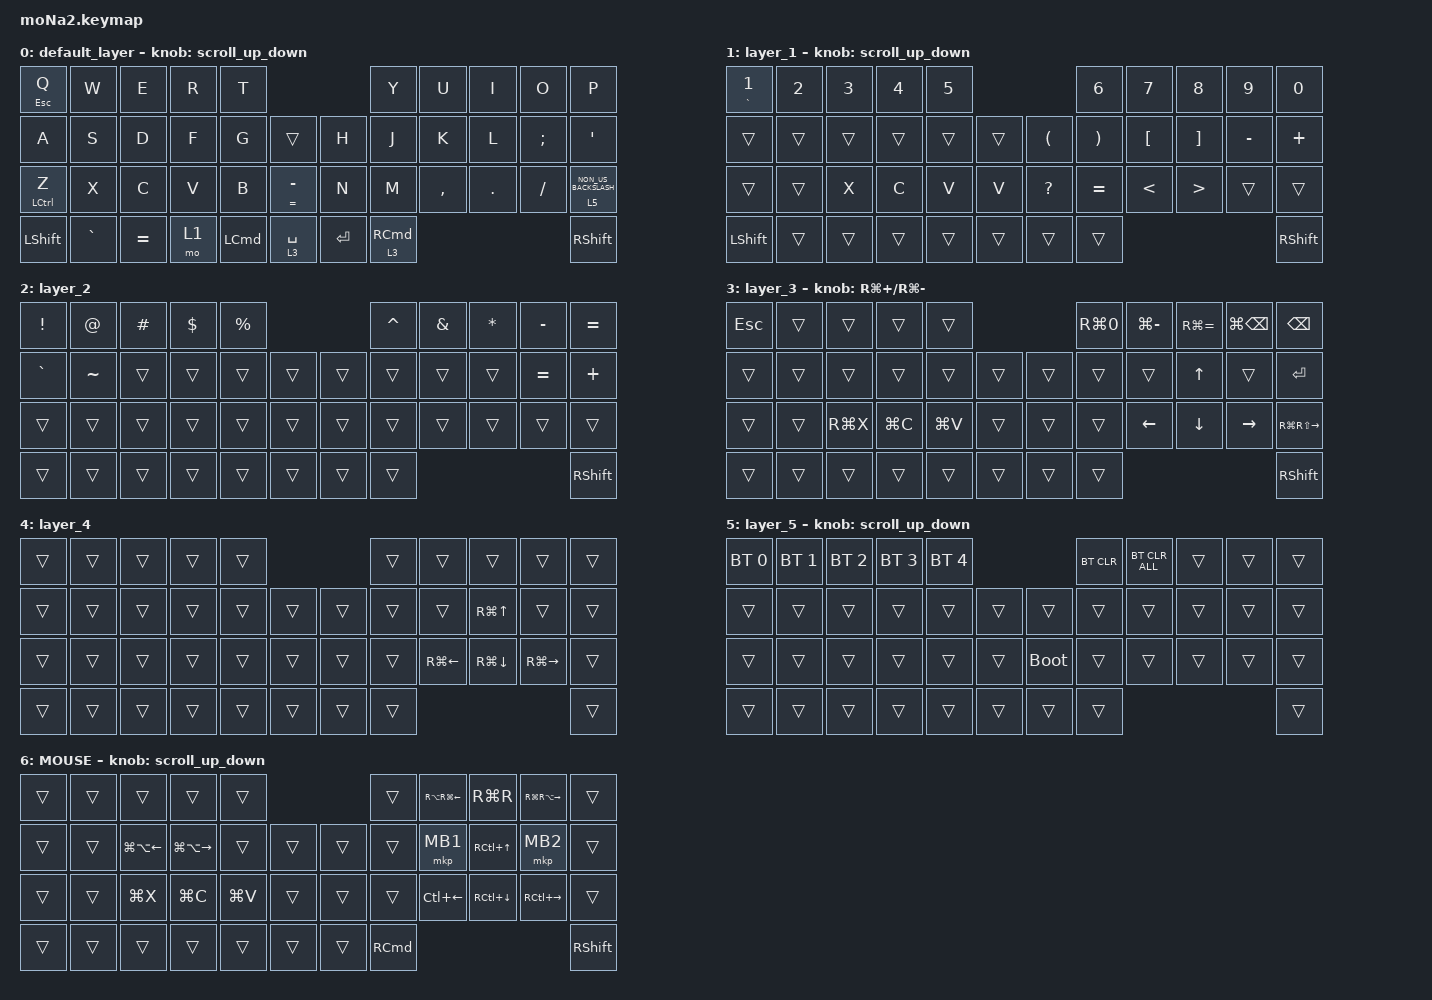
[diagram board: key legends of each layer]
#include <behaviors.dtsi>
#include <dt-bindings/zmk/bt.h>
#include <dt-bindings/zmk/keys.h>
#include <dt-bindings/zmk/pointing.h>

#define ZMK_POINTING_DEFAULT_SCRL_VAL 100
#define MOUSE 6

&mt {
    flavor = "balanced";
    quick-tap-ms = <0>;
};

/ {
    combos {
        compatible = "zmk,combos";

        tab {
            bindings = <&none>;
            key-positions = <10 11>;
        };

        leftshift-to-layer2 {
            bindings = <&sl 2>;
            key-positions = <22 34>;
        };

        right-shift-to-layer2 {
            bindings = <&sl 2>;
            key-positions = <33 42>;
        };
    };

    macros {
        to_layer_0: to_layer_0 {
            compatible = "zmk,behavior-macro-one-param";
            #binding-cells = <1>;
            bindings = <&to 0 &macro_param_1to1 &kp MACRO_PLACEHOLDER>;
            label = "TO_LAYER_0";
        };
    };

    behaviors {
        lt_to_layer_0: lt_to_layer_0 {
            compatible = "zmk,behavior-hold-tap";
            label = "LAYER_TAP_TO_0";
            bindings = <&mo>, <&to_layer_0>;

            #binding-cells = <2>;
            tapping-term-ms = <200>;
        };

        scroll_up_down: behavior_sensor_rotate_mouse_wheel_up_down {
            compatible = "zmk,behavior-sensor-rotate";
            #sensor-binding-cells = <0>;
            bindings = <&msc SCRL_UP>, <&msc SCRL_DOWN>;

            tap-ms = <20>;
        };
    };

    keymap {
        compatible = "zmk,keymap";

        default_layer {
            bindings = <
&mt ESCAPE Q        &kp W      &kp E      &kp R  &kp T                                           &kp Y                &kp U      &kp I       &kp O          &kp P
&kp A               &kp S      &kp D      &kp F  &kp G             &trans             &kp H      &kp J                &kp K      &kp L       &kp SEMICOLON  &kp SINGLE_QUOTE
&mt LEFT_CONTROL Z  &kp X      &kp C      &kp V  &kp B             &mt EQUAL MINUS    &kp N      &kp M                &kp COMMA  &kp PERIOD  &kp SLASH      &lt 5 NON_US_BACKSLASH
&kp LEFT_SHIFT      &kp GRAVE  &kp EQUAL  &mo 1  &kp LEFT_COMMAND  &lt 3 SPACE        &kp ENTER  &lt 3 RIGHT_COMMAND                                        &kp RIGHT_SHIFT
            >;

            sensor-bindings = <&scroll_up_down>;
        };

        layer_1 {
            bindings = <
&mt GRAVE NUMBER_1  &kp NUMBER_2  &kp NUMBER_3  &kp NUMBER_4  &kp N5                                  &kp NUMBER_6           &kp N7            &kp N8             &kp N9     &kp N0
&trans              &trans        &trans        &trans        &trans  &trans    &kp LEFT_PARENTHESIS  &kp RIGHT_PARENTHESIS  &kp LEFT_BRACKET  &kp RIGHT_BRACKET  &kp MINUS  &kp PLUS
&trans              &trans        &kp X         &kp C         &kp V   &kp V     &kp QUESTION          &kp EQUAL              &kp LESS_THAN     &kp GREATER_THAN   &trans     &trans
&kp LEFT_SHIFT      &trans        &trans        &trans        &trans  &trans    &trans                &trans                                                                 &kp RIGHT_SHIFT
            >;

            sensor-bindings = <&scroll_up_down>;
        };

        layer_2 {
            bindings = <
&kp EXCLAMATION  &kp AT_SIGN  &kp HASH  &kp DOLLAR  &kp PERCENT                    &kp CARET  &kp AMPERSAND  &kp ASTRK  &kp MINUS  &kp EQUAL
&kp GRAVE        &kp TILDE    &trans    &trans      &trans       &trans    &trans  &trans     &trans         &trans     &kp EQUAL  &kp PLUS
&trans           &trans       &trans    &trans      &trans       &trans    &trans  &trans     &trans         &trans     &trans     &trans
&trans           &trans       &trans    &trans      &trans       &trans    &trans  &trans                                          &kp RIGHT_SHIFT
            >;
        };

        layer_3 {
            bindings = <
&kp ESCAPE  &trans  &trans     &trans     &trans                       &kp RG(N0)  &kp LG(MINUS)  &kp RG(EQUAL)   &kp LG(BACKSPACE)  &kp BACKSPACE
&trans      &trans  &trans     &trans     &trans     &trans    &trans  &trans      &trans         &kp UP_ARROW    &trans             &kp ENTER
&trans      &trans  &kp RG(X)  &kp LG(C)  &kp LG(V)  &trans    &trans  &trans      &kp LEFT       &kp DOWN_ARROW  &kp RIGHT          &kp RG(RS(RIGHT))
&trans      &trans  &trans     &trans     &trans     &trans    &trans  &trans                                                        &kp RIGHT_SHIFT
            >;

            sensor-bindings = <&inc_dec_kp RG(PLUS) RG(MINUS)>;
        };

        layer_4 {
            bindings = <
&trans  &trans  &trans  &trans  &trans                    &trans  &trans        &trans            &trans         &trans
&trans  &trans  &trans  &trans  &trans  &trans    &trans  &trans  &trans        &kp RG(UP_ARROW)  &trans         &trans
&trans  &trans  &trans  &trans  &trans  &trans    &trans  &trans  &kp RG(LEFT)  &kp RG(DOWN)      &kp RG(RIGHT)  &trans
&trans  &trans  &trans  &trans  &trans  &trans    &trans  &trans                                                 &trans
            >;
        };

        layer_5 {
            bindings = <
&bt BT_SEL 0  &bt BT_SEL 1  &bt BT_SEL 2  &bt BT_SEL 3  &bt BT_SEL 4                         &bt BT_CLR  &bt BT_CLR_ALL  &trans  &trans  &trans
&trans        &trans        &trans        &trans        &trans        &trans    &trans       &trans      &trans          &trans  &trans  &trans
&trans        &trans        &trans        &trans        &trans        &trans    &bootloader  &trans      &trans          &trans  &trans  &trans
&trans        &trans        &trans        &trans        &trans        &trans    &trans       &trans                                      &trans
            >;

            sensor-bindings = <&scroll_up_down>;
        };

        MOUSE {
            bindings = <
&trans  &trans  &trans            &trans             &trans                       &trans             &kp RA(RG(LEFT_ARROW))  &kp RG(R)           &kp RG(RA(RIGHT_ARROW))  &trans
&trans  &trans  &kp LG(LA(LEFT))  &kp LG(LA(RIGHT))  &trans     &trans    &trans  &trans             &mkp MB1                &kp RC(UP_ARROW)    &mkp MB2                 &trans
&trans  &trans  &kp LG(X)         &kp LG(C)          &kp LG(V)  &trans    &trans  &trans             &kp LC(LEFT)            &kp RC(DOWN_ARROW)  &kp RC(RIGHT)            &trans
&trans  &trans  &trans            &trans             &trans     &trans    &trans  &kp RIGHT_COMMAND                                                                       &kp RIGHT_SHIFT
            >;

            sensor-bindings = <&scroll_up_down>;
        };
    };
};
